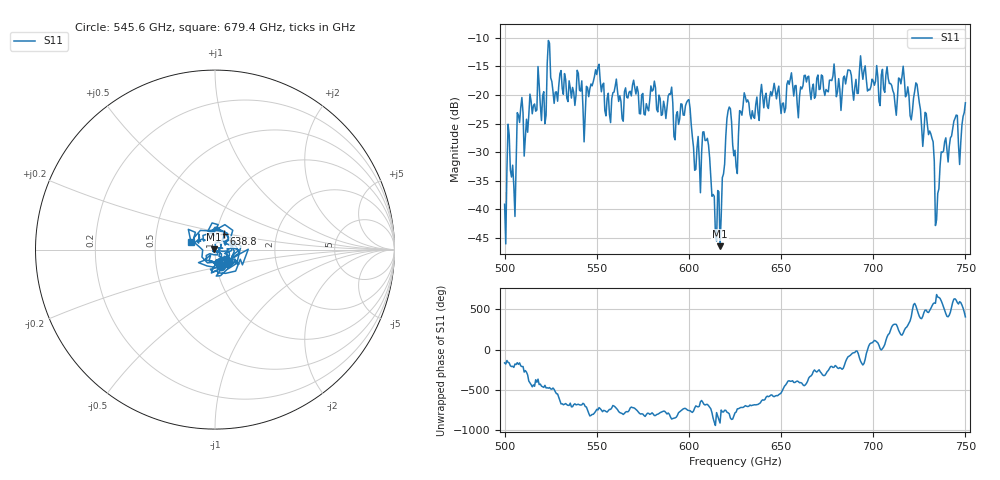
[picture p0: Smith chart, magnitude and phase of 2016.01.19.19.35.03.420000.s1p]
!Created with skrf (http://scikit-rf.org).
# GHz S RI R 50.0
!freq ReS11 ImS11
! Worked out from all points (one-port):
!   401 points, 500 GHz to 750 GHz, reference 50 ohm
!   lowest |S11| = -46.4 dB at 616.9 GHz (marker M1), VSWR 1.01, Z = 49.5 + j0.0907 ohm
!   |S11| at or under -10 dB: start of sweep to end of sweep
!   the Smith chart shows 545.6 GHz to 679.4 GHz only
!   S11 on the Smith chart (normalised r, x): 545.6 GHz: 1.06, -0.19; 638.8 GHz: 1.09, +0.19; 679.4 GHz: 0.76, +0.06
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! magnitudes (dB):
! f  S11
! 500 GHz  -39.1
! 502.5 GHz  -27.0
! 505 GHz  -35.9
! 508.1 GHz  -24.8
! 521.2 GHz  -19.4
! 524.4 GHz  -11.0
! 531.2 GHz  -18.9
! 545.6 GHz  -20.3
! 562.5 GHz  -20.1
! 580.6 GHz  -19.1
! 593.8 GHz  -22.9
! 599.4 GHz  -21.0
! 605 GHz  -27.3
! 608.8 GHz  -28.0
! 613.8 GHz  -37.7
! 616.9 GHz  -46.4
! 621.2 GHz  -22.8
! 625 GHz  -29.7
! 629.4 GHz  -21.8
! 638.8 GHz  -19.9
! 656.2 GHz  -18.2
! 679.4 GHz  -17.1
! 687.5 GHz  -15.7
! 718.8 GHz  -18.6
! 729.4 GHz  -25.2
! 735 GHz  -37.2
! 738.1 GHz  -29.8
! 750 GHz  -21.4
